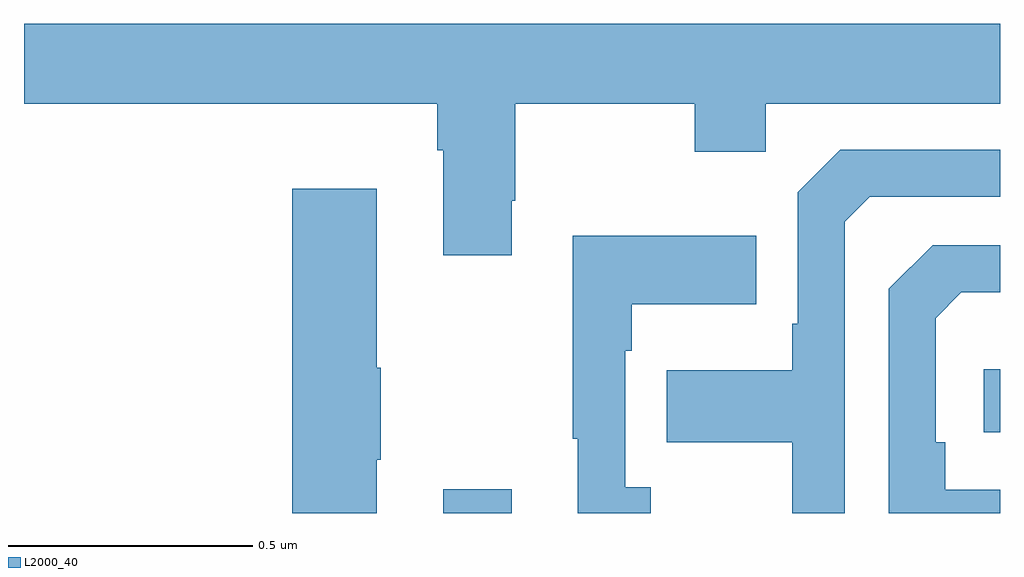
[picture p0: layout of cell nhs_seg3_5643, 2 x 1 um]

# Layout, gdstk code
import gdstk
lib = gdstk.Library(unit=1e-6, precision=1e-09)
def R(c, l, rs):  # rectangles x0, y0, x1, y1
    for r in rs: c.add(gdstk.rectangle(r[:2], r[2:], *l))
def P(c, l, *ps):  # polygons
    for p in ps: c.add(gdstk.Polygon(p, *l))
L2000_40 = (2000, 40)

nhs_seg3_5643 = lib.new_cell('nhs_seg3_5643')
R(nhs_seg3_5643, L2000_40, [(181.859,709.4,181.999,709.45), (182.967,709.566,183,709.696)])
P(nhs_seg3_5643, L2000_40, [(181.999,710.041),(182.007,710.041),(182.007,710.24),(182.374,710.24),(182.374,710.141),(182.52,710.141),(182.52,710.24),(183,710.24),(183,710.404),(181,710.404),(181,710.24),(181.847,710.24),(181.847,710.144),(181.859,710.144),(181.859,709.929),(181.999,709.929)],
  [(182.682,709.998),(182.733,710.049),(183,710.049),(183,710.145),(182.673,710.145),(182.586,710.058),(182.586,709.789),(182.574,709.789),(182.574,709.693),(182.317,709.693),(182.317,709.546),(182.574,709.546),(182.574,709.4),(182.682,709.4)],
  [(181.723,709.51),(181.731,709.51),(181.731,709.699),(181.723,709.699),(181.723,710.065),(181.55,710.065),(181.55,709.4),(181.723,709.4)],
  [(182.284,709.454),(182.232,709.454),(182.232,709.733),(182.245,709.733),(182.245,709.829),(182.501,709.829),(182.501,709.969),(182.124,709.969),(182.124,709.553),(182.135,709.553),(182.135,709.4),(182.284,709.4)],
  [(183,709.449),(182.888,709.449),(182.888,709.546),(182.868,709.546),(182.868,709.8),(182.921,709.853),(183,709.853),(183,709.95),(182.862,709.95),(182.772,709.86),(182.772,709.4),(183,709.4)])

lib.write_gds('nhs_seg3_5643.gds')
